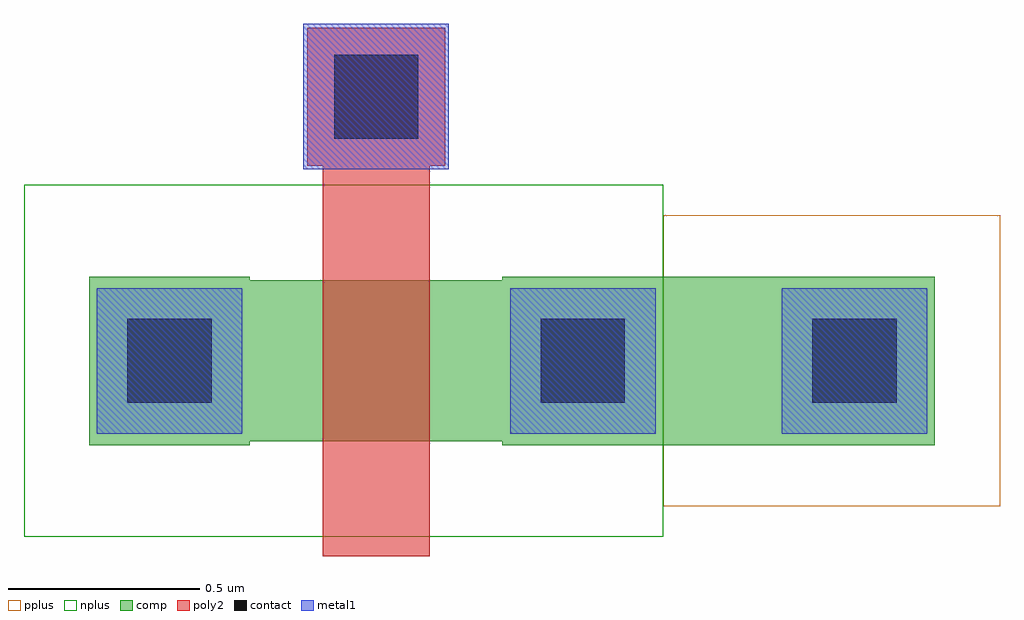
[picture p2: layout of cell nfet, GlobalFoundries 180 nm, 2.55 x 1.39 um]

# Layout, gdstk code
import gdstk
lib = gdstk.Library(unit=1e-6, precision=5e-09)
def R(c, l, rs):  # rectangles x0, y0, x1, y1
    for r in rs: c.add(gdstk.rectangle(r[:2], r[2:], *l))
comp = (22, 0)
poly2 = (30, 0)
pplus = (31, 0)
nplus = (32, 0)
contact = (33, 0)
metal1 = (34, 0)

nfet = lib.new_cell('nfet')
R(nfet, comp, [(-0.42,-0.01,0,0.43), (0.66,-0.01,1.08,0.43), (1.08,-0.01,1.79,0.43), (0,0,0.66,0.42)])
R(nfet, poly2, [(0.19,-0.3,0.47,0.72), (0.15,0.72,0.51,1.08)])
R(nfet, pplus, [(1.08,-0.17,1.96,0.59)])
R(nfet, nplus, [(-0.59,-0.25,1.08,0.67)])
R(nfet, contact, [(-0.32,0.1,-0.1,0.32), (0.76,0.1,0.98,0.32), (1.47,0.1,1.69,0.32), (0.22,0.79,0.44,1.01)])
R(nfet, metal1, [(-0.4,0.02,-0.02,0.4), (0.68,0.02,1.06,0.4), (1.39,0.02,1.77,0.4), (0.14,0.71,0.52,1.09)])

lib.write_gds('nfet.gds')
